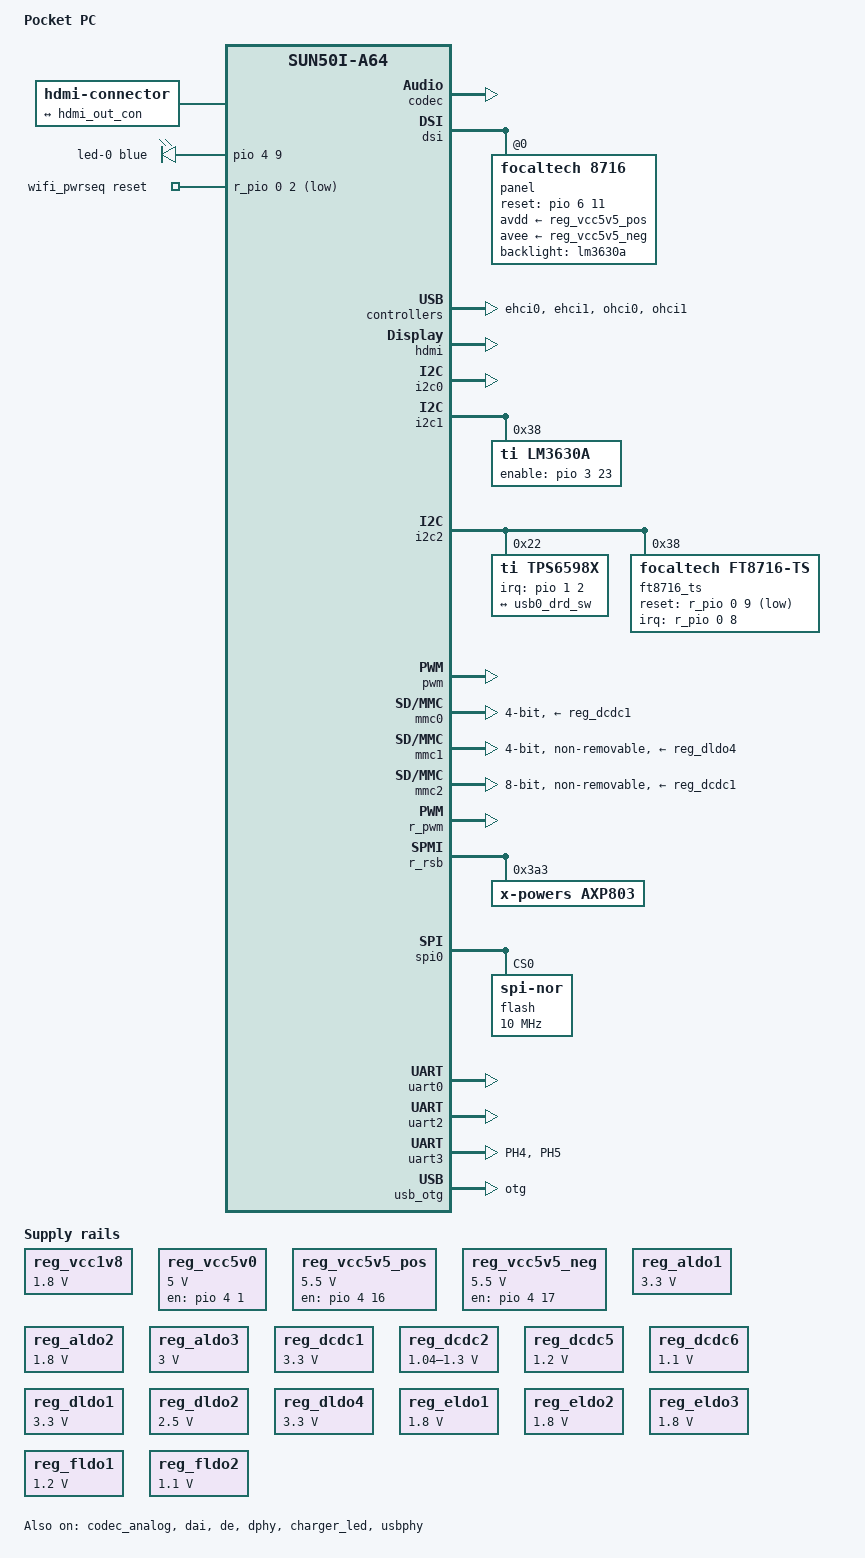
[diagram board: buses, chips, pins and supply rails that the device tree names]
// SPDX-License-Identifier: (GPL-2.0+ OR MIT)
// Copyright (c) 2021 Kory Maincent <kory.maincent@bootlin.com>
// Based on sun50i-a64-pine64.dts, which is:
//   Copyright (c) 2016 ARM Ltd.

/dts-v1/;

#include "sun50i-a64.dtsi"
#include "sun50i-a64-cpu-opp.dtsi"

#include <dt-bindings/gpio/gpio.h>
#include <dt-bindings/leds/common.h>
#include <dt-bindings/pwm/pwm.h>

/ {
	model = "Pocket PC";
	compatible = "pocket-pc",
		     "allwinner,sun50i-a64";

	aliases {
		ethernet0 = &emac;
		serial0 = &uart0;
		serial1 = &uart1;
		serial2 = &uart2;
		serial3 = &uart3;
		serial4 = &uart4;
		spi0 = &spi0;
		mmc0 = &mmc0;
		mmc1 = &mmc1;
		mmc2 = &mmc2;
	};

	chosen {
		stdout-path = "serial0:115200n8";
	};

	hdmi-connector {
		compatible = "hdmi-connector";
		type = "c";

		port {
			hdmi_con_in: endpoint {
				remote-endpoint = <&hdmi_out_con>;
			};
		};
	};

	leds {
		compatible = "gpio-leds";

		led-0 {
			function = LED_FUNCTION_INDICATOR;
			color = <LED_COLOR_ID_BLUE>;
			gpios = <&pio 4 9 GPIO_ACTIVE_HIGH>; /* PE9 */
		};
	};

	reg_vcc1v8: vcc1v8 {
		compatible = "regulator-fixed";
		regulator-name = "vcc1v8";
		regulator-min-microvolt = <1800000>;
		regulator-max-microvolt = <1800000>;
	};

	reg_vcc5v0: vcc5v0 {
		compatible = "regulator-fixed";
		gpio = <&pio 4 1 GPIO_ACTIVE_HIGH>;
		enable-active-high;
		regulator-name = "vcc5v0";
		regulator-always-on;
		regulator-boot-on;
		regulator-min-microvolt = <5000000>;
		regulator-max-microvolt = <5000000>;
	};

	reg_vcc5v5_pos: vcc5v5_pos {
		compatible = "regulator-fixed";
		gpio = <&pio 4 16 GPIO_ACTIVE_HIGH>;
		enable-active-high;
		regulator-name = "vcc5v5_pos";
		regulator-min-microvolt = <5500000>;
		regulator-max-microvolt = <5500000>;
	};

	reg_vcc5v5_neg: vcc5v5_neg {
		compatible = "regulator-fixed";
		gpio = <&pio 4 17 GPIO_ACTIVE_HIGH>;
		enable-active-high;
		regulator-name = "vcc5v5_neg";
		regulator-min-microvolt = <5500000>;
		regulator-max-microvolt = <5500000>;
	};

	wifi_pwrseq: wifi-pwrseq {
		compatible = "mmc-pwrseq-simple";
		reset-gpios = <&r_pio 0 2 GPIO_ACTIVE_LOW>; /* PL2 */
	};
};

&codec {
	status = "okay";
};

&codec_analog {
	cpvdd-supply = <&reg_eldo1>;
	status = "okay";
};

&cpu0 {
	cpu-supply = <&reg_dcdc2>;
};

&cpu1 {
	cpu-supply = <&reg_dcdc2>;
};

&cpu2 {
	cpu-supply = <&reg_dcdc2>;
};

&cpu3 {
	cpu-supply = <&reg_dcdc2>;
};

&dai {
	status = "okay";
};

&de {
	status = "okay";
};

&dphy {
	status = "okay";
};

&dsi {
	vcc-dsi-supply = <&reg_dldo1>;		/* VCC3V3-DSI */
	status = "okay";

	panel: panel@0 {
		compatible = "focaltech,8716";
		avdd-supply = <&reg_vcc5v5_pos>;
		avee-supply = <&reg_vcc5v5_neg>;
		reset-gpios = <&pio 6 11 GPIO_ACTIVE_HIGH>; /* LCD_RESET_N: PG11 */
		backlight = <&lm3630a>;
		reg = <0>;
		rotation = <270>;
	};
};

&ehci0 {
	status = "okay";
};

&ehci1 {
	status = "okay";
};

&hdmi {
	hvcc-supply = <&reg_dldo1>;
	status = "okay";
};

&hdmi_out {
	hdmi_out_con: endpoint {
		remote-endpoint = <&hdmi_con_in>;
	};
};

&i2c0 {
	status = "okay";
};

&i2c1 {
	status = "okay";

	lm3630a: backlight@38 {
		compatible = "ti,lm3630a";
		enable-gpios = <&pio 3 23 GPIO_ACTIVE_HIGH>; /* LCD-BL-EN: PD23 */
		reg = <0x38>;

		#address-cells = <1>;
		#size-cells = <0>;

		led@0 {
			led-sources = <0>;
			label = "backlight_warm";
			default-brightness = <255>;
			max-brightness = <255>;
			reg = <0>;
		};
	};
};

&i2c2 {
	status = "okay";

	tps6598x: tps6598x@22 {
		compatible = "ti,tps6598x";
		reg = <0x22>;
		interrupt-parent = <&pio>;
		interrupts = <1 2 IRQ_TYPE_LEVEL_LOW>;
		interrupt-names = "irq";

		typec_con: connector {
			compatible = "usb-c-connector";
			label = "USB-C";

			port {
				typec0_dr_sw: endpoint {
					remote-endpoint = <&usb0_drd_sw>;
				};
			};
		};
	};

	ft8716_ts: touchscreen@38 {
		compatible = "focaltech,ft8716-ts", "edt,edt-ft5406";
		reg = <0x38>;
		reset-gpios = <&r_pio 0 9 GPIO_ACTIVE_LOW>;
		interrupt-parent = <&r_pio>;
		interrupts = <0 8 IRQ_TYPE_EDGE_FALLING>;
	};
};

&pwm {
	status = "okay";
};

&ohci0 {
	status = "okay";
};

&ohci1 {
	status = "okay";
};

&mmc0 {
	pinctrl-names = "default";
	pinctrl-0 = <&mmc0_pins>;
	vmmc-supply = <&reg_dcdc1>;
	bus-width = <4>;
	broken-cd;
	status = "okay";
};

&mmc1 {
	pinctrl-names = "default";
	pinctrl-0 = <&mmc1_pins>;
	vmmc-supply = <&reg_dldo4>;
	vqmmc-supply = <&reg_dcdc1>;
	mmc-pwrseq = <&wifi_pwrseq>;
	bus-width = <4>;
	non-removable;
	keep-power-in-suspend;
	status = "okay";
};

&mmc2 {
	pinctrl-names = "default";
	pinctrl-0 = <&mmc2_pins>;
	vmmc-supply = <&reg_dcdc1>;
	vqmmc-supply = <&reg_vcc1v8>;
	bus-width = <8>;
	non-removable;
	cap-mmc-hw-reset;
	status = "okay";
};

&pio {
	vcc-pe-supply = <&reg_aldo1>;
	vcc-pg-supply = <&reg_dldo4>;

	uart3_lora_pins: uart3-lora-pins {
		pins = "PH4", "PH5";
		function = "uart3";
	};
};

&r_pwm {
	status = "okay";
};

&r_rsb {
	status = "okay";

	axp803: pmic@3a3 {
		compatible = "x-powers,axp803";
		reg = <0x3a3>;
		interrupt-parent = <&r_intc>;
		interrupts = <GIC_SPI 32 IRQ_TYPE_LEVEL_LOW>;
	};
};

#include "axp803.dtsi"

&ac_power_supply {
	status = "okay";
};

&axp_adc {
	x-powers,ts-as-gpadc;
};

&battery_power_supply {
	status = "okay";
};

&charger_led {
	status = "okay";
};

&reg_aldo1 {
	regulator-min-microvolt = <3300000>;
	regulator-max-microvolt = <3300000>;
	regulator-name = "vcc-pe";
};

&reg_aldo2 {
	regulator-always-on;
	regulator-min-microvolt = <1800000>;
	regulator-max-microvolt = <1800000>;
	regulator-name = "vcc-pl";
};

&reg_aldo3 {
	regulator-always-on;
	regulator-min-microvolt = <3000000>;
	regulator-max-microvolt = <3000000>;
	regulator-name = "vcc-pll-avcc";
};

&reg_dcdc1 {
	regulator-always-on;
	regulator-min-microvolt = <3300000>;
	regulator-max-microvolt = <3300000>;
	regulator-name = "vcc-3v3";
};

&reg_dcdc2 {
	regulator-always-on;
	regulator-min-microvolt = <1040000>;
	regulator-max-microvolt = <1300000>;
	regulator-name = "vdd-cpux";
};

&reg_dcdc5 {
	regulator-always-on;
	regulator-min-microvolt = <1200000>;
	regulator-max-microvolt = <1200000>;
	regulator-name = "vcc-dram";
};

&reg_dcdc6 {
	regulator-always-on;
	regulator-min-microvolt = <1100000>;
	regulator-max-microvolt = <1100000>;
	regulator-name = "vdd-sys";
};

&reg_dldo1 {
	regulator-min-microvolt = <3300000>;
	regulator-max-microvolt = <3300000>;
	regulator-name = "vcc-hdmi-dsi";
};

&reg_dldo2 {
	regulator-min-microvolt = <2500000>;
	regulator-max-microvolt = <2500000>;
	regulator-name = "vcc-2v5-edp";
};

&reg_dldo4 {
	regulator-min-microvolt = <3300000>;
	regulator-max-microvolt = <3300000>;
	regulator-name = "vcc-wifi";
};

&reg_eldo1 {
	regulator-always-on;
	regulator-min-microvolt = <1800000>;
	regulator-max-microvolt = <1800000>;
	regulator-name = "vdd-1v8-lpddr-cpvdd";
};

/*
 * ELDO2 and ELDO3 are connected together to supply VDDI of the LCD
 * panel. As we have no support for concurrently configure two
 * regulators at the same time, make them both always-on now.
 */
&reg_eldo2 {
	regulator-always-on;
	regulator-min-microvolt = <1800000>;
	regulator-max-microvolt = <1800000>;
	regulator-name = "vcc-1v8-lcd-1";
};

&reg_eldo3 {
	regulator-always-on;
	regulator-min-microvolt = <1800000>;
	regulator-max-microvolt = <1800000>;
	regulator-name = "vcc-1v8-lcd-2";
};

&reg_fldo1 {
	regulator-min-microvolt = <1200000>;
	regulator-max-microvolt = <1200000>;
	regulator-name = "vcc-1v2-hsic-edp";
};

&reg_fldo2 {
	regulator-always-on;
	regulator-min-microvolt = <1100000>;
	regulator-max-microvolt = <1100000>;
	regulator-name = "vdd-cpus";
};

&reg_rtc_ldo {
	regulator-name = "vcc-rtc";
};

&simplefb_hdmi {
	vcc-hdmi-supply = <&reg_dldo1>;
};

&sound {
	simple-audio-card,aux-devs = <&codec_analog>;
	simple-audio-card,widgets = "Headphone", "Headphone Jack",
				    "Microphone", "Microphone Jack";
	simple-audio-card,routing =
			"Left DAC", "DACL",
			"Right DAC", "DACR",
			"Headphone Jack", "HP",
			"ADCL", "Left ADC",
			"ADCR", "Right ADC",
			"Microphone Jack", "HBIAS",
			"MIC2", "Microphone Jack";
	status = "okay";
};

&spi0  {
	status = "okay";

	flash@0 {
		#address-cells = <1>;
		#size-cells = <1>;
		compatible = "jedec,spi-nor";
		reg = <0>;
		spi-max-frequency = <10000000>;
	};
};

&uart0 {
	pinctrl-names = "default";
	pinctrl-0 = <&uart0_pb_pins>;
	status = "okay";
};

&uart2 {
	pinctrl-names = "default";
	pinctrl-0 = <&uart2_pins>;
	status = "okay";
};

&uart3 {
	pinctrl-names = "default";
	pinctrl-0 = <&uart3_lora_pins>;
	status = "okay";
};

&usb_otg {
	dr_mode = "otg";
	status = "okay";
};

&usbphy {
	status = "okay";
	usb-role-switch;

	port {
		usb0_drd_sw: endpoint {
			remote-endpoint = <&typec0_dr_sw>;
		};
	};
};
